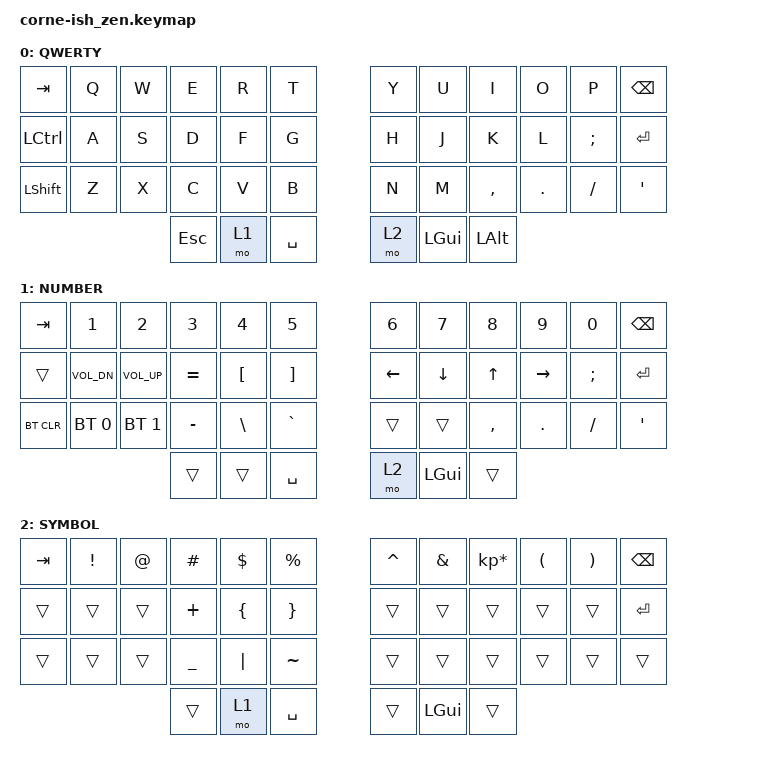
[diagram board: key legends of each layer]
/*
*
* Copyright (c) 2021 Darryl deHaan
* SPDX-License-Identifier: MIT
*
*/

#include <behaviors.dtsi>
#include <dt-bindings/zmk/keys.h>
#include <dt-bindings/zmk/bt.h>

/ {
        keymap {
                compatible = "zmk,keymap";

                default_layer {
                        label = "QWERTY";
// -----------------------------------------------------------------------------------------
// |  TAB |  Q  |  W  |  E  |  R  |  T  |   |  Y  |  U   |  I  |  O  |  P  | BKSP |
// | CTRL |  A  |  S  |  D  |  F  |  G  |   |  H  |  J   |  K  |  L  |  ;  | RET  |
// | SHFT |  Z  |  X  |  C  |  V  |  B  |   |  N  |  M   |  ,  |  .  |  /  | '    |
//                   |  ESC | MO2 | SPC |   | MO2 | RWIN |     |
                        bindings = <
   &kp TAB   &kp Q &kp W &kp E &kp R &kp T   &kp Y &kp U  &kp I     &kp O   &kp P    &kp BSPC
   &kp LCTRL &kp A &kp S &kp D &kp F &kp G   &kp H &kp J  &kp K     &kp L   &kp SEMI &kp RET
   &kp LSHFT &kp Z &kp X &kp C &kp V &kp B   &kp N &kp M  &kp COMMA &kp DOT &kp FSLH &kp SQT
                   &kp ESC &mo 1 &kp SPACE    &mo 2 &kp LGUI &kp LALT
                        >;
                };
                lower_layer {
                        label = "NUMBER";
// -----------------------------------------------------------------------------------------
// |  TAB |  1  |  2  |  3  |  4  |  5  |   |  6  |  7  |  8  |  9  |  0  | BKSP |
// |      |  KD | KUP |  =  |  [  |  ]  |   | LFT | DWN |  UP | RGT |  ;  | RET  |
// | BTC  | BT1 | BT2 |  -  |  \  |  `  |   |     |     |  ,  |  .  |  /  |   '  |
//                    |     |     | SPC |   | MO2 | RWIN|     |
                        bindings = <
   &kp TAB    &kp N1       &kp N2       &kp N3       &kp N4       &kp N5         &kp N6   &kp N7   &kp N8    &kp N9     &kp N0   &kp BSPC
   &trans     &kp C_VOL_DN &kp C_VOL_UP &kp EQUAL    &kp LBKT     &kp RBKT       &kp LEFT &kp DOWN &kp UP    &kp RIGHT  &kp SEMI &kp RET
   &bt BT_CLR &bt BT_SEL 0 &bt BT_SEL 1 &kp MINUS    &kp BSLH     &kp GRAVE      &trans   &trans   &kp COMMA &kp DOT    &kp FSLH &kp SQT
                          	        &trans       &trans       &kp SPACE      &mo 2    &kp LGUI   &trans
                        >;
                };

                raise_layer {
                        label = "SYMBOL";
// -----------------------------------------------------------------------------------------
// |  TAB |  !  |  @  |  #  |  $  |  %  |   |  ^  |  &  |  *  |  (  |  )  | BKSP |
// |      |     |     |  +  |  {  |  }  |   |     |     |     |     |     | RET  |
// |      |     |     |  _  |  |  |  ~  |   |     |     |     |     |     |      |
//                    |     | MO1 | SPC |   |     |RWIN |     |
                        bindings = <
   &kp TAB   &kp EXCL &kp AT &kp HASH  &kp DLLR &kp PRCNT   &kp CARET &kp AMPS  &kp KP_MULTIPLY &kp LPAR &kp RPAR &kp BSPC
   &trans    &trans   &trans &kp PLUS  &kp LBRC &kp RBRC    &trans    &trans    &trans          &trans   &trans   &kp RET
   &trans    &trans   &trans &kp UNDER &kp PIPE &kp TILDE   &trans    &trans    &trans          &trans   &trans   &trans
                    	     &trans    &mo 1    &kp SPACE   &trans    &kp LGUI  &trans
                        >;
                };
        };
};
